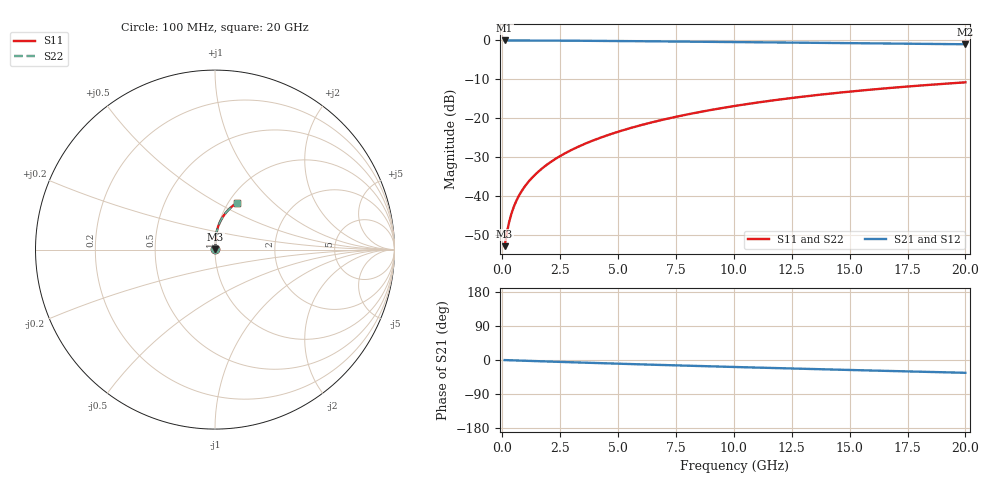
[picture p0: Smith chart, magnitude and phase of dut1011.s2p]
! Touchstone file exported from HFSS 2024.1.0
!  File:  C:/UserFiles/LocalFiles/RDL_TSV_Batchsim/temp_RDL_top_1011_1780042728.aedt
!  Generated:  04:21:35 PM May 29, 2026
!  Design:  RDL_top
!  Project:  temp_RDL_top_1011_1780042728
!  Setup:  Setup1
!  Solution:  Sweep
! Variables:
!  dtsv = 10.80580581um
!  hbump = 3um
!  htsv = 91.83um
!  ldown = 100um
!  lrdl = 499.93um
!  p = 40
!  p1 = 46.91um
!  rhole = 1um
!  t = 450um
!  tdown = 3.915915916um
!  trdl = 4.99um
!  wdown = 15.38538539um
!  wrdl = 22.75um
# GHz S MA R 50.000000
! Terminal data exported
! Port[1] = Box2_T1
! Port[2] = Box2_T2
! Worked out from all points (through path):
!   200 points, 100 MHz to 20 GHz, reference 50 ohm
!   highest |S21| = -0.02 dB at 100 MHz (marker M1); lowest = -1.0 dB at 20 GHz (marker M2)
!   group delay of S21, straight-line fit = 4.64 ps
!   lowest |S11| = -52.9 dB at 100 MHz (marker M3), VSWR 1.00, Z = 50.2 + j0.145 ohm
!   |S11| at or under -10 dB: start of sweep to end of sweep
!   |S22| runs from -52.9 to -10.8 dB; largest |S21 - S12| = 3.6e-15
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0.1  0.002258 39.9  0.9983 -0.2  0.9983 -0.2  0.002258 39.9
! Gamma 0 0 0 0
! Port Impedance 50 0 50 0
0.2  0.003393 58.0  0.9981 -0.4  0.9981 -0.4  0.003393 58.0
0.3  0.004676 66.1  0.998 -0.6  0.998 -0.6  0.004676 66.1
0.4  0.005983 70.4  0.9978 -0.8  0.9978 -0.8  0.005984 70.4
0.5  0.007281 73.1  0.9977 -1.0  0.9977 -1.0  0.007282 73.1
0.7  0.009828 76.3  0.9974 -1.4  0.9974 -1.4  0.009831 76.3
0.8  0.01108 77.5  0.9972 -1.6  0.9972 -1.6  0.01109 77.5
1  0.01357 79.2  0.9969 -2.0  0.9969 -2.0  0.01358 79.3
1.4  0.01855 81.7  0.9962 -2.8  0.9962 -2.8  0.01856 81.7
1.7  0.02232 83.0  0.9955 -3.4  0.9955 -3.4  0.02233 83.0
2  0.02613 83.9  0.9946 -4.0  0.9946 -4.0  0.02614 83.9
2.7  0.0352 85.4  0.9923 -5.4  0.9923 -5.4  0.0352 85.4
3.5  0.04588 86.1  0.989 -7.0  0.989 -7.0  0.04588 86.1
4.2  0.05551 86.4  0.9857 -8.3  0.9857 -8.3  0.05551 86.4
5  0.06684 86.3  0.9816 -9.8  0.9816 -9.8  0.06684 86.3
6.8  0.09344 85.1  0.9714 -13.0  0.9714 -13.0  0.09344 85.1
8.4  0.118 83.3  0.9619 -15.7  0.9619 -15.7  0.118 83.3
10.1  0.1445 80.9  0.9516 -18.6  0.9516 -18.6  0.1445 80.9
11.7  0.1694 78.5  0.9419 -21.2  0.9419 -21.2  0.1694 78.5
13.4  0.1954 75.7  0.9316 -23.8  0.9316 -23.8  0.1954 75.7
16.7  0.244 70.2  0.9117 -28.9  0.9117 -28.9  0.244 70.2
20  0.2889 64.8  0.8919 -33.8  0.8919 -33.8  0.2889 64.8
